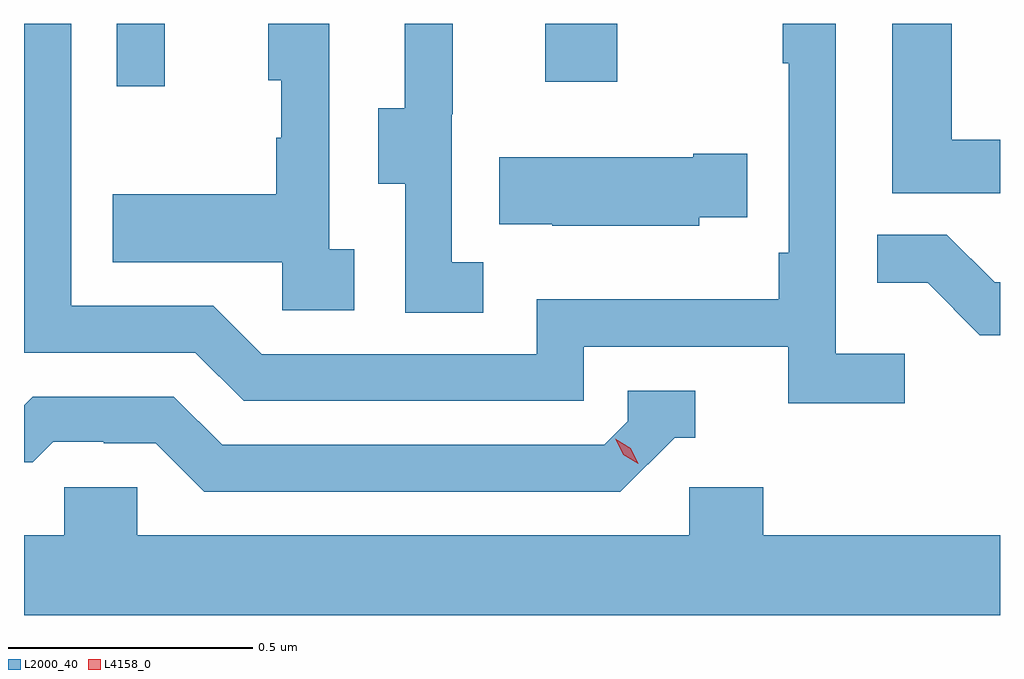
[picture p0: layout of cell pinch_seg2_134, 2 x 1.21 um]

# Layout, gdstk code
import gdstk
lib = gdstk.Library(unit=1e-6, precision=1e-09)
def R(c, l, rs):  # rectangles x0, y0, x1, y1
    for r in rs: c.add(gdstk.rectangle(r[:2], r[2:], *l))
def P(c, l, *ps):  # polygons
    for p in ps: c.add(gdstk.Polygon(p, *l))
L2000_40 = (2000, 40)
L4158_0 = (4158, 0)

pinch_seg2_134 = lib.new_cell('pinch_seg2_134')
R(pinch_seg2_134, L2000_40, [(1019.583,627.408,1019.681,627.536), (1020.461,627.417,1020.609,627.536)])
P(pinch_seg2_134, L2000_40, [(1020.334,627.047),(1020.27,627.047),(1020.27,627.351),(1020.272,627.351),(1020.272,627.536),(1020.173,627.536),(1020.173,627.363),(1020.119,627.363),(1020.119,627.208),(1020.174,627.208),(1020.174,626.944),(1020.334,626.944)],
  [(1021.393,627.298),(1021.294,627.298),(1021.294,627.536),(1021.172,627.536),(1021.172,627.189),(1021.393,627.189)],
  [(1021.198,626.86),(1021.056,626.86),(1021.056,627.536),(1020.948,627.536),(1020.948,627.455),(1020.96,627.455),(1020.96,627.067),(1020.94,627.067),(1020.94,626.971),(1020.444,626.971),(1020.444,626.859),(1019.88,626.859),(1019.781,626.958),(1019.49,626.958),(1019.49,627.536),(1019.393,627.536),(1019.393,627.471),(1019.394,627.471),(1019.394,626.862),(1019.744,626.862),(1019.843,626.763),(1020.54,626.763),(1020.54,626.874),(1020.959,626.874),(1020.959,626.758),(1021.198,626.758)],
  [(1020.07,627.074),(1020.018,627.074),(1020.018,627.536),(1019.894,627.536),(1019.894,627.42),(1019.92,627.42),(1019.92,627.302),(1019.91,627.302),(1019.91,627.187),(1019.575,627.187),(1019.575,627.047),(1019.922,627.047),(1019.922,626.949),(1020.07,626.949)],
  [(1020.777,627.14),(1020.875,627.14),(1020.875,627.27),(1020.764,627.27),(1020.764,627.262),(1020.367,627.262),(1020.367,627.125),(1020.475,627.125),(1020.475,627.122),(1020.777,627.122)],
  [(1021.393,627.006),(1021.382,627.006),(1021.284,627.104),(1021.141,627.104),(1021.141,627.005),(1021.245,627.005),(1021.352,626.898),(1021.393,626.898)],
  [(1020.726,626.688),(1020.769,626.688),(1020.769,626.784),(1020.63,626.784),(1020.63,626.721),(1020.582,626.673),(1019.799,626.673),(1019.7,626.772),(1019.411,626.772),(1019.393,626.754),(1019.393,626.637),(1019.411,626.637),(1019.453,626.679),(1019.556,626.679),(1019.556,626.676),(1019.663,626.676),(1019.762,626.577),(1020.615,626.577)],
  [(1021.393,626.488),(1020.908,626.488),(1020.908,626.586),(1020.756,626.586),(1020.756,626.488),(1019.625,626.488),(1019.625,626.586),(1019.475,626.586),(1019.475,626.488),(1019.393,626.488),(1019.393,626.324),(1021.393,626.324)])
P(pinch_seg2_134, L4158_0, [(1020.652,626.634),(1020.621,626.653),(1020.605,626.686),(1020.605,626.686),(1020.605,626.686),(1020.636,626.666),(1020.652,626.634),(1020.652,626.634)])

lib.write_gds('pinch_seg2_134.gds')
